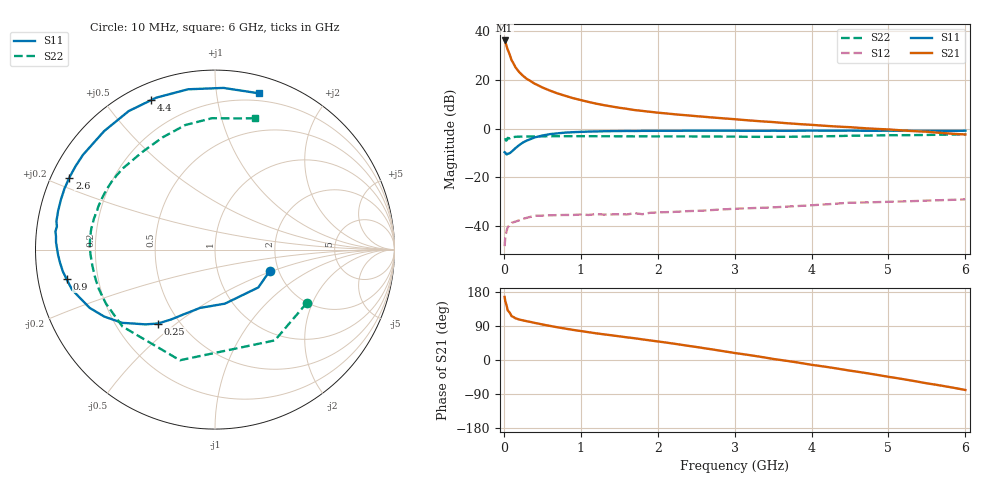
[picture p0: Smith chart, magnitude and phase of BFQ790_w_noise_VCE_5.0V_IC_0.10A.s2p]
! (c) 2015  Infineon Technologies AG, Munich
! Infineon Technologies  Discrete & RF Semiconductors
! BFQ790
! VCE =  5.0 V,  IC = 0.10 A
! Common Emitter S-Parameters:  May 2015
# GHz  S  MA  R  50
!  f  S11  S21  S12  S22
! GHz  MAG  ANG  MAG  ANG  MAG  ANG  MAG  ANG
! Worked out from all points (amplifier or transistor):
!   77 points, 10 MHz to 6 GHz, reference 50 ohm
!   highest |S21| = 36.1 dB at 10 MHz (marker M1)
!   |S21| within 3 dB of that: start of sweep to 42.31 MHz
!   unconditionally stable (mu >= 1): start of sweep to 16.84 MHz; 194.4 MHz to 380.3 MHz; 1.047 GHz to end of sweep
!   at 130 MHz: K = 0.86, MSG = 32.4 dB, |S12| = -38.3 dB
!   at 2.2 GHz: K = 1.26, MAG = 17.0 dB, |S12| = -34.2 dB
!   at 6 GHz: K = 1.30, MAG = 10.0 dB, |S12| = -29.0 dB
!   lowest NFmin = 2.59 dB at 1.5 GHz
!   S11 on the Smith chart (normalised r, x): 10 MHz: 1.79, -0.48; 250 MHz: 0.38, -0.43; 900 MHz: 0.09, -0.10; 2.6 GHz: 0.05, +0.23; 4.4 GHz: 0.07, +0.66; 6 GHz: 0.14, +1.31
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0.01  0.327 -21.5  63.83 166.5  0.0039 35.4  0.5916 -30.1
0.02  0.3206 -41.1  59.01 154.2  0.0063 43.5  0.6059 -56.6
0.05  0.3062 -79.6  41.48 130.8  0.0095 35.1  0.6468 -107.6
0.1  0.3358 -104.5  25.23 115.7  0.0117 21.1  0.6705 -140.3
0.15  0.3959 -115.2  18.12 110.2  0.0124 22.1  0.678 -153.7
0.2  0.4593 -122.1  14.34 106.8  0.0132 21.6  0.6832 -161.0
0.25  0.5197 -127.6  12.02 104.5  0.0141 18.1  0.6852 -165.7
0.3  0.5696 -133.0  10.38 102.3  0.0149 16.5  0.687 -169.1
0.4  0.6585 -141.7  8.328 97.9  0.0164 14.6  0.6906 -174.1
0.5  0.7207 -148.8  6.955 93.8  0.0165 10.3  0.694 -177.8
0.6  0.7696 -155.0  5.992 90.0  0.0167 11.3  0.6974 179.3
0.7  0.7984 -160.2  5.236 86.2  0.0169 10.5  0.6979 176.9
0.9  0.8429 -168.7  4.201 79.4  0.017 4.1  0.6986 173.2
1.1  0.8666 -175.2  3.514 73.4  0.017 6.3  0.6986 169.9
1.5  0.8886 175.4  2.671 62.5  0.0176 3.4  0.6945 164.5
2.1  0.9009 164.2  2.047 46.3  0.0194 2.0  0.6911 156.2
2.6  0.9053 153.7  1.745 31.3  0.0209 -0.8  0.689 147.0
3.1  0.9024 142.1  1.509 15.7  0.0231 -6.8  0.6805 136.0
4.1  0.9064 119.8  1.161 -15.5  0.0275 -17.7  0.6924 112.7
4.4  0.9054 113.3  1.086 -24.8  0.0296 -22.5  0.7064 105.7
5.1  0.9016 97.1  0.935 -47.5  0.0319 -34.6  0.7319 89.2
6  0.9044 74.3  0.758 -79.2  0.0355 -53.1  0.7653 73.0
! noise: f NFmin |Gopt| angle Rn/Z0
0.45  3.96  0.39  132  0.4
0.9  2.84  0.53  163  0.14
1.5  2.59  0.65  -175  0.07
1.8  2.71  0.67  -170  0.08
2.6  3.14  0.72  -153  0.2
3.5  3.78  0.82  -136  0.49
